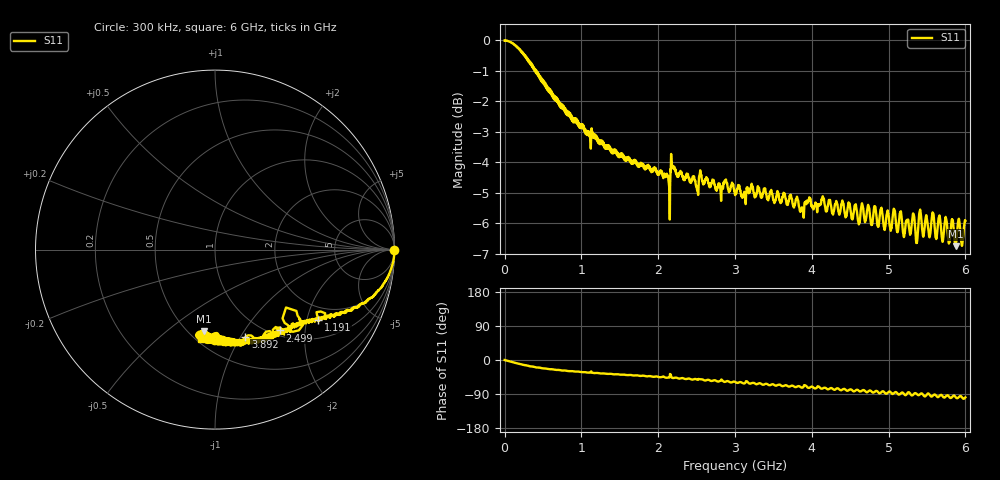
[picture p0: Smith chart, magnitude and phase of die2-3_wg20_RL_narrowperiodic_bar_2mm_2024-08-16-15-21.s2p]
!Keysight Technologies,P9374A,MY57304198,A.17.20.09
!Date: Friday, August 16, 2024 15:21:12
!Correction: S11(C  1-Port  )
!S21(C  1-Port  )
!S12(Off)
!S22(Off)
!S2P File: Measurements: S11, S21, S12, S22:
# Hz S  dB  R 50
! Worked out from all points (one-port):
!   6000 points, 300 kHz to 6 GHz, reference 50 ohm
!   lowest |S11| = -6.8 dB at 5.872 GHz (marker M1), VSWR 2.70, Z = 29.5 - j34.1 ohm
!   |S11| at or under -10 dB: nowhere
!   S11 on the Smith chart (normalised r, x): 300 kHz: open; 1.191 GHz: 1.54, -2.34; 2.499 GHz: 1.09, -1.48; 3.892 GHz: 0.79, -1.05; 6 GHz: 0.53, -0.71
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300000  -0.00 -0.0  -200.00 45.0  -200.00 45.0  -200.00 45.0
2.353274e8  -0.39 -12.1  -200.00 45.0  -200.00 45.0  -200.00 45.0
4.133482e8  -0.99 -19.2  -200.00 45.0  -200.00 45.0  -200.00 45.0
6.573767e8  -1.83 -25.7  -200.00 45.0  -200.00 45.0  -200.00 45.0
1.000417e9  -2.81 -32.0  -200.00 45.0  -200.00 45.0  -200.00 45.0
1.191439e9  -3.16 -34.4  -200.00 45.0  -200.00 45.0  -200.00 45.0
2.000533e9  -4.34 -44.8  -200.00 45.0  -200.00 45.0  -200.00 45.0
2.121547e9  -4.47 -46.5  -200.00 45.0  -200.00 45.0  -200.00 45.0
2.183555e9  -4.17 -47.1  -200.00 45.0  -200.00 45.0  -200.00 45.0
2.498591e9  -4.77 -51.2  -200.00 45.0  -200.00 45.0  -200.00 45.0
3.00065e9  -5.07 -57.6  -200.00 45.0  -200.00 45.0  -200.00 45.0
3.891754e9  -5.76 -70.8  -200.00 45.0  -200.00 45.0  -200.00 45.0
4.000767e9  -5.43 -69.9  -200.00 45.0  -200.00 45.0  -200.00 45.0
5.000883e9  -5.77 -84.0  -200.00 45.0  -200.00 45.0  -200.00 45.0
5.214908e9  -6.22 -92.6  -200.00 45.0  -200.00 45.0  -200.00 45.0
5.260914e9  -6.02 -84.9  -200.00 45.0  -200.00 45.0  -200.00 45.0
5.304919e9  -5.94 -93.5  -200.00 45.0  -200.00 45.0  -200.00 45.0
5.364926e9  -6.64 -89.5  -200.00 45.0  -200.00 45.0  -200.00 45.0
5.408931e9  -5.58 -90.5  -200.00 45.0  -200.00 45.0  -200.00 45.0
5.576951e9  -5.66 -93.9  -200.00 45.0  -200.00 45.0  -200.00 45.0
5.871985e9  -6.76 -97.8  -200.00 45.0  -200.00 45.0  -200.00 45.0
6e9  -5.93 -98.6  -200.00 45.0  -200.00 45.0  -200.00 45.0
